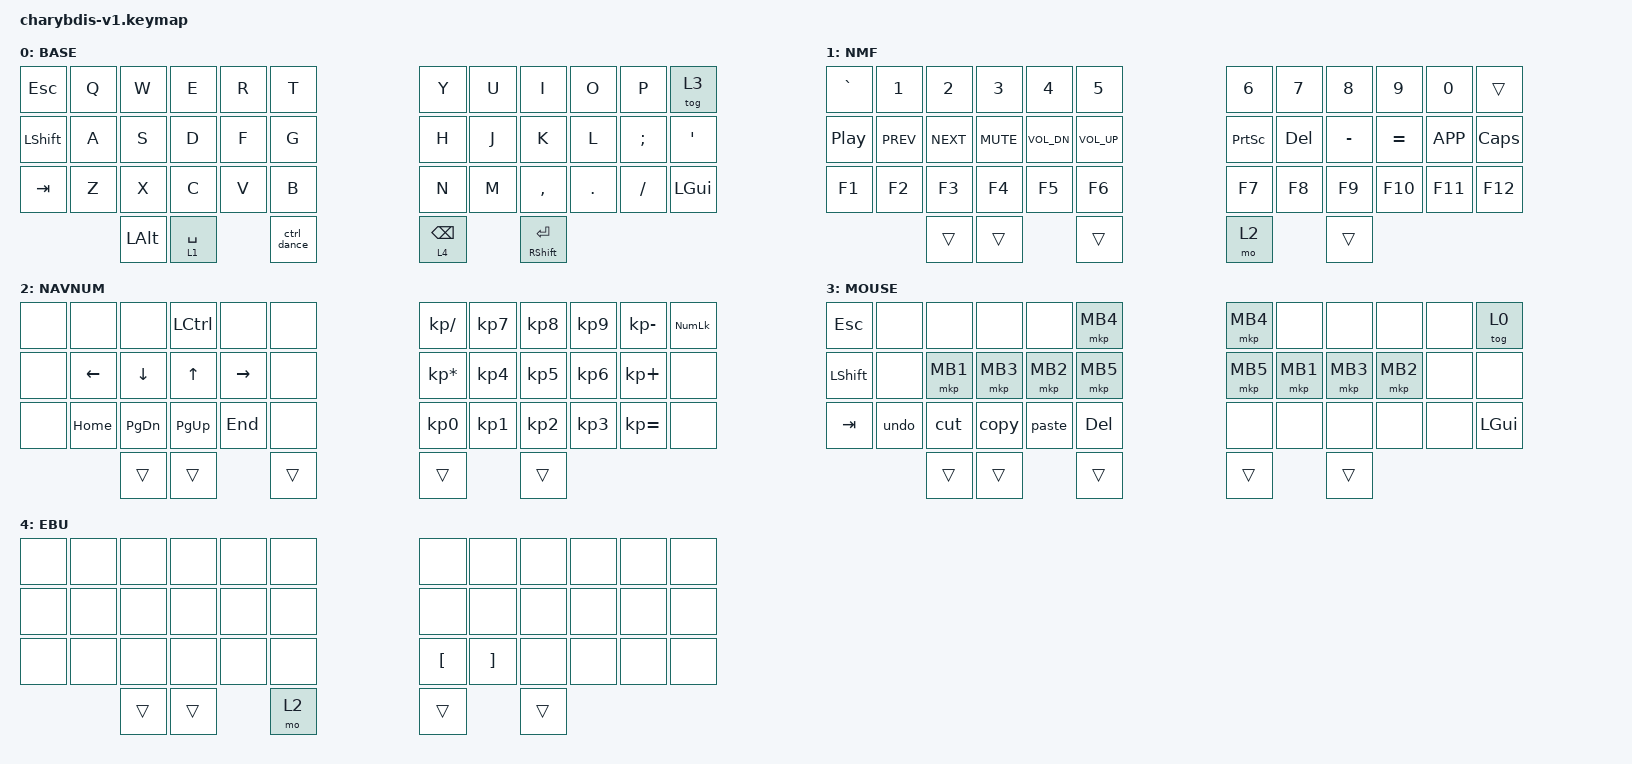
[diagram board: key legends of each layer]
#include <behaviors.dtsi>
#include <dt-bindings/zmk/keys.h>
#include <dt-bindings/zmk/pointing.h>

#define BASE 0
#define NMF 1
#define NAVNUM 2
#define MOUSE 3
#define EBU 4

#define KEYS_L 0 1 2 3 4 10 11 12 13 14 20 21 22 23 24  
#define KEYS_R 5 6 7 8 9 15 16 17 18 19 25 26 27 28 29
#define THUMBS 30 31 32 33 34 35  

&sk {
  release-after-ms = <600>;
  quick-release;
};

&sl {
  ignore-modifiers;
};

&mt {
  flavor = "tap-preferred";
};

&lt {
  flavor = "balanced";
  tapping-term-ms = <200>;
  quick-tap-ms = <175>;
};

&caps_word {
  /delete-property/ ignore-modifiers;
};




/ {
  behaviors {
    hml: hml {
      compatible = "zmk,behavior-hold-tap";
      #binding-cells = <2>;
      flavor = "balanced";
      tapping-term-ms = <2000>;
      quick-tap-ms = <175>;
      require-prior-idle-ms = <250>;
      hold-trigger-key-positions = <KEYS_R THUMBS>;
      hold-trigger-on-release;
      bindings =
        <&kp>,
        <&kp>;
    };

    hmr: hmr {
      compatible = "zmk,behavior-hold-tap";
      #binding-cells = <2>;
      flavor = "balanced";
      tapping-term-ms = <2000>;
      quick-tap-ms = <175>;
      require-prior-idle-ms = <250>;
      hold-trigger-key-positions = <KEYS_L THUMBS>;
      hold-trigger-on-release;
      bindings =
        <&kp>,
        <&kp>;
    };
    hml_s: hml_s {
      compatible = "zmk,behavior-hold-tap";
      #binding-cells = <2>;
      flavor = "balanced";
      tapping-term-ms = <2000>;
      quick-tap-ms = <175>;
      require-prior-idle-ms = <0>;
      hold-trigger-key-positions = <KEYS_R THUMBS>;
      hold-trigger-on-release;
      bindings =
        <&kp>,
        <&kp>;
    };

    hmr_s: hmr_s {
      compatible = "zmk,behavior-hold-tap";
      #binding-cells = <2>;
      flavor = "balanced";
      tapping-term-ms = <2000>;
      quick-tap-ms = <175>;
      require-prior-idle-ms = <0>;
      hold-trigger-key-positions = <KEYS_L THUMBS>;
      hold-trigger-on-release;
      bindings =
        <&kp>,
        <&kp>;
    };

    ctrl_dance: ctrl_dance {
      compatible = "zmk,behavior-tap-dance";
      #binding-cells = <0>;
      tapping-term-ms = <200>;  
      bindings = <&kp LCTRL>, <&mo 2>;  
    };

    smart_shift: smart_shift {
      compatible = "zmk,behavior-mod-morph";
      #binding-cells = <0>;
      bindings = <&sk LSHIFT>, <&caps_word>;
      mods = <(MOD_LSFT)>;
    };
  };


combos {
    compatible = "zmk,combos";
    timeout-ms = <45>;
    require-prior-idle-ms = <250>;

    combo_unlock {
      key-positions = <0 4>;
      bindings = <&studio_unlock>;
    };

    combo_h_letter {
      key-positions = <19 20>;
      bindings = <&kp LBKT>;
    };

    combo_delete_word {
      key-positions = <32 33>;
      bindings = <&kp LC(BSPC)>;
    };

    combo_uwu_letter {
      key-positions = <19 21>;
      bindings = <&kp RBKT>;
    };
  };

    macros {
        copy: copy {
            compatible = "zmk,behavior-macro";
            #binding-cells = <0>;
            bindings = <&kp LC(C)>;
        };

        paste: paste {
            compatible = "zmk,behavior-macro";
            #binding-cells = <0>;
            bindings = <&kp LC(V)>;
        };

        cut: cut {
            compatible = "zmk,behavior-macro";
            #binding-cells = <0>;
            bindings = <&kp LC(X)>;
        };

        undo: undo {
            compatible = "zmk,behavior-macro";
            #binding-cells = <0>;
            bindings = <&kp LC(Z)>;
        };
    };


  chosen {
    zmk,physical-layout = &charybdis_6col_layout;
  };

  keymap {
    compatible = "zmk,keymap";

    Base {
      display-name = "BASE";
      bindings = <
        &kp ESCAPE  &kp Q    &kp W    &kp E    &kp R    &kp T                  &kp Y    &kp U    &kp I       &kp O    &kp P      &tog 3
        &kp LSHFT   &kp A    &kp S    &kp D    &kp F    &kp G                  &kp H    &kp J    &kp K       &kp L    &kp SEMI   &kp SQT
        &kp TAB     &kp Z    &kp X    &kp C    &kp V    &kp B                  &kp N    &kp M    &kp COMMA   &kp DOT  &kp FSLH   &kp LGUI
                             &kp LALT   &lt 1 SPACE     &ctrl_dance            &lt 4 BSPC     &mt RSHFT ENTER        
      >;
    };

    NMF {
      display-name = "NMF";
      bindings = < 
        &kp GRAVE  &kp N1      &kp N2      &kp N3       &kp N4        &kp N5                 &kp N6     &kp N7   &kp N8     &kp N9     &kp N0      &trans
        &kp C_PP   &kp C_PREV  &kp C_NEXT  &kp C_MUTE   &kp C_VOL_DN  &kp C_VOL_UP           &kp PSCRN  &kp DEL  &kp MINUS  &kp EQUAL  &kp K_APP   &kp CAPS
        &kp F1     &kp F2      &kp F3      &kp F4       &kp F5        &kp F6                 &kp F7     &kp F8   &kp F9     &kp F10    &kp F11     &kp F12
                                                   &trans    &trans    &trans                &mo 2   &trans  
      >;
    };

    NAVNUM {  
      display-name = "NAVNUM";
      bindings = < 
        &none      &none      &none      &kp LCTRL  &none      &none          &kp KP_DIVIDE     &kp KP_N7    &kp KP_N8   &kp KP_N9   &kp KP_MINUS   &kp KP_NUM
        &none      &kp LEFT   &kp DOWN   &kp UP     &kp RIGHT  &none          &kp KP_MULTIPLY   &kp KP_N4    &kp KP_N5   &kp KP_N6   &kp KP_PLUS    &none
        &none      &kp HOME   &kp PG_DN  &kp PG_UP  &kp END    &none          &kp KP_N0         &kp KP_N1    &kp KP_N2   &kp KP_N3   &kp KP_EQUAL   &none
                                            &trans   &trans    &trans         &trans    &trans                                                                    
      >;
    };

    MOUSE {
      display-name = "MOUSE";
      bindings = < 
        &kp ESCAPE   &none    &none      &none       &none       &mkp MB4         &mkp MB4   &none      &none       &none      &none   &tog 0
        &kp LSHFT    &none    &mkp MB1   &mkp MB3    &mkp MB2    &mkp MB5         &mkp MB5   &mkp MB1   &mkp MB3    &mkp MB2   &none   &none
        &kp TAB      &undo    &cut       &copy       &paste      &kp DEL          &none      &none      &none       &none      &none   &kp LGUI
                                        &trans   &trans  &trans                   &trans    &trans                                                                     
      >;
    };

     EBU {
      display-name = "EBU";
      bindings = < 
        &none   &none    &none      &none       &none       &none         &none      &none      &none       &none      &none   &none
        &none   &none    &none      &none       &none       &none         &none      &none      &none       &none      &none   &none
        &none   &none    &none      &none       &none       &none         &kp LBKT   &kp RBKT      &none       &none      &none   &none
                                        &trans   &trans     &mo 2         &trans    &trans                                                                     
      >;
    };
  };
};





              



